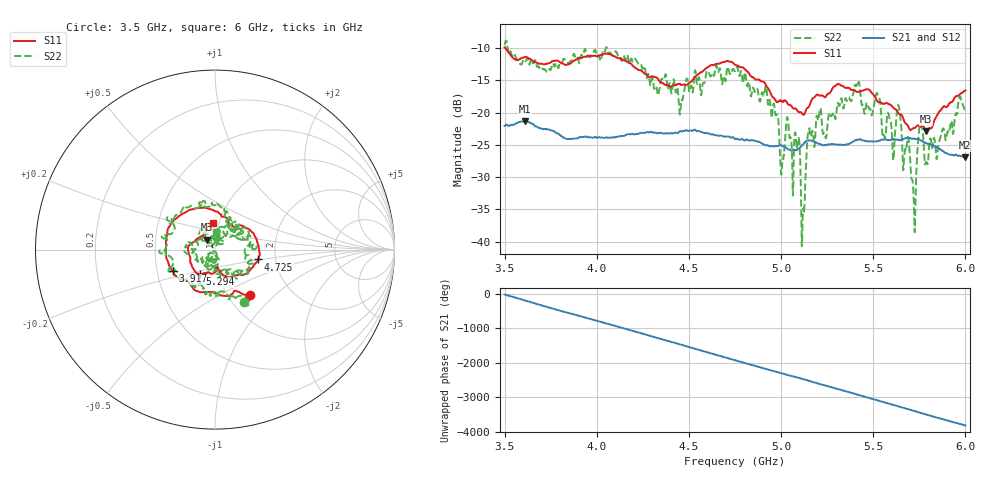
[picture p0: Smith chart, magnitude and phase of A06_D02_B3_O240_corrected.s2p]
! Created with skrf 1.9.0 (http://scikit-rf.org).
# Hz S RI R 50.0
!freq ReS11 ImS11 ReS21 ImS21 ReS12 ImS12 ReS22 ImS22
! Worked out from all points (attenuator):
!   1601 points, 3.5 GHz to 6 GHz, reference 50 ohm
!   highest |S21| = -21.36 dB at 3.609 GHz (marker M1); lowest = -27.0 dB at 5.997 GHz (marker M2)
!   lowest |S11| = -22.9 dB at 5.787 GHz (marker M3), VSWR 1.15, Z = 45.3 + j4.98 ohm
!   |S11| at or under -10 dB: 3.503 GHz to end of sweep
!   |S22| runs from -40.7 to -8.8 dB; largest |S21 - S12| = 0.00095
!   S11 on the Smith chart (normalised r, x): 3.5 GHz: 1.26, -0.71; 3.917 GHz: 0.60, -0.16; 4.725 GHz: 1.62, -0.19; 5.294 GHz: 0.81, -0.23; 6 GHz: 0.94, +0.28
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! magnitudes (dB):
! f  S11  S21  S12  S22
! 3.5 GHz  -9.9  -22.1  -22.1  -9.5
! 3.609 GHz  -11.4  -21.4  -21.4  -11.9
! 3.917 GHz  -11.5  -23.8  -23.8  -11.0
! 4.334 GHz  -14.9  -23.2  -23.1  -17.2
! 4.725 GHz  -12.1  -23.9  -23.8  -13.9
! 4.75 GHz  -12.6  -24.1  -24.0  -13.6
! 4.969 GHz  -18.0  -25.2  -25.2  -20.2
! 5.005 GHz  -18.3  -25.1  -25.1  -28.4
! 5.033 GHz  -18.5  -25.6  -25.5  -20.7
! 5.088 GHz  -19.7  -25.7  -25.7  -25.3
! 5.119 GHz  -20.3  -25.0  -24.8  -35.3
! 5.145 GHz  -19.2  -24.3  -24.3  -23.4
! 5.167 GHz  -18.0  -24.4  -24.3  -23.0
! 5.294 GHz  -15.9  -25.0  -24.9  -21.0
! 5.412 GHz  -16.8  -24.2  -24.2  -15.8
! 5.584 GHz  -18.7  -24.3  -24.2  -20.3
! 5.641 GHz  -20.2  -24.3  -24.2  -19.3
! 5.719 GHz  -22.4  -24.1  -24.0  -32.9
! 5.755 GHz  -22.2  -24.3  -24.2  -22.0
! 5.787 GHz  -22.9  -24.8  -24.7  -27.7
! 5.997 GHz  -16.6  -27.0  -26.9  -19.6
! 6 GHz  -16.6  -27.0  -26.9  -19.9
